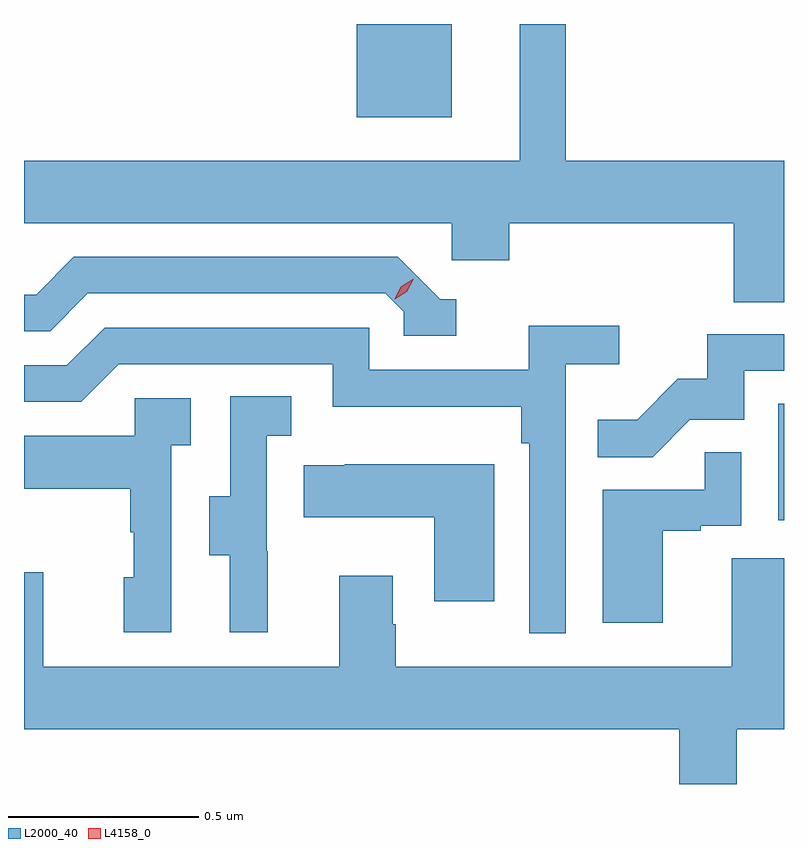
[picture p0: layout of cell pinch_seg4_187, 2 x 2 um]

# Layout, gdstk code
import gdstk
lib = gdstk.Library(unit=1e-6, precision=1e-09)
def R(c, l, rs):  # rectangles x0, y0, x1, y1
    for r in rs: c.add(gdstk.rectangle(r[:2], r[2:], *l))
def P(c, l, *ps):  # polygons
    for p in ps: c.add(gdstk.Polygon(p, *l))
L2000_40 = (2000, 40)
L4158_0 = (4158, 0)

pinch_seg4_187 = lib.new_cell('pinch_seg4_187')
R(pinch_seg4_187, L2000_40, [(1104.644,801.366,1104.659,801.673), (1103.534,802.427,1103.785,802.672)])
P(pinch_seg4_187, L2000_40, [(1104.659,802.312),(1104.085,802.312),(1104.085,802.672),(1103.963,802.672),(1103.963,802.312),(1102.659,802.312),(1102.659,802.148),(1103.784,802.148),(1103.784,802.05),(1103.936,802.05),(1103.936,802.148),(1104.527,802.148),(1104.527,801.94),(1104.659,801.94)],
  [(1103.797,801.948),(1103.754,801.948),(1103.643,802.059),(1102.79,802.059),(1102.691,801.96),(1102.659,801.96),(1102.659,801.864),(1102.728,801.864),(1102.827,801.963),(1103.61,801.963),(1103.658,801.915),(1103.658,801.852),(1103.797,801.852)],
  [(1104.084,801.776),(1104.226,801.776),(1104.226,801.878),(1103.987,801.878),(1103.987,801.762),(1103.568,801.762),(1103.568,801.873),(1102.871,801.873),(1102.772,801.774),(1102.659,801.774),(1102.659,801.678),(1102.809,801.678),(1102.908,801.777),(1103.472,801.777),(1103.472,801.665),(1103.968,801.665),(1103.968,801.569),(1103.988,801.569),(1103.988,801.069),(1104.084,801.069)],
  [(1104.411,801.63),(1104.555,801.63),(1104.555,801.759),(1104.659,801.759),(1104.659,801.855),(1104.457,801.855),(1104.457,801.738),(1104.38,801.738),(1104.273,801.631),(1104.169,801.631),(1104.169,801.532),(1104.313,801.532)],
  [(1103.3,801.285),(1103.298,801.285),(1103.298,801.589),(1103.362,801.589),(1103.362,801.692),(1103.202,801.692),(1103.202,801.429),(1103.147,801.429),(1103.147,801.274),(1103.201,801.274),(1103.201,801.072),(1103.3,801.072)],
  [(1103.046,801.563),(1103.098,801.563),(1103.098,801.687),(1102.95,801.687),(1102.95,801.589),(1102.659,801.589),(1102.659,801.449),(1102.938,801.449),(1102.938,801.335),(1102.948,801.335),(1102.948,801.216),(1102.922,801.216),(1102.922,801.072),(1103.046,801.072)],
  [(1104.34,801.339),(1104.44,801.339),(1104.44,801.351),(1104.546,801.351),(1104.546,801.545),(1104.451,801.545),(1104.451,801.447),(1104.182,801.447),(1104.182,801.096),(1104.34,801.096)],
  [(1103.896,801.514),(1103.503,801.514),(1103.503,801.511),(1103.395,801.511),(1103.395,801.374),(1103.738,801.374),(1103.738,801.153),(1103.896,801.153)],
  [(1104.535,800.816),(1104.659,800.816),(1104.659,801.266),(1104.521,801.266),(1104.521,800.98),(1103.637,800.98),(1103.637,801.092),(1103.629,801.092),(1103.629,801.22),(1103.489,801.22),(1103.489,800.98),(1102.709,800.98),(1102.709,801.229),(1102.659,801.229),(1102.659,800.816),(1104.383,800.816),(1104.383,800.672),(1104.535,800.672)])
P(pinch_seg4_187, L4158_0, [(1103.635,801.948),(1103.635,801.948),(1103.651,801.981),(1103.682,802),(1103.683,802),(1103.683,801.999),(1103.666,801.967),(1103.635,801.948)])

lib.write_gds('pinch_seg4_187.gds')
